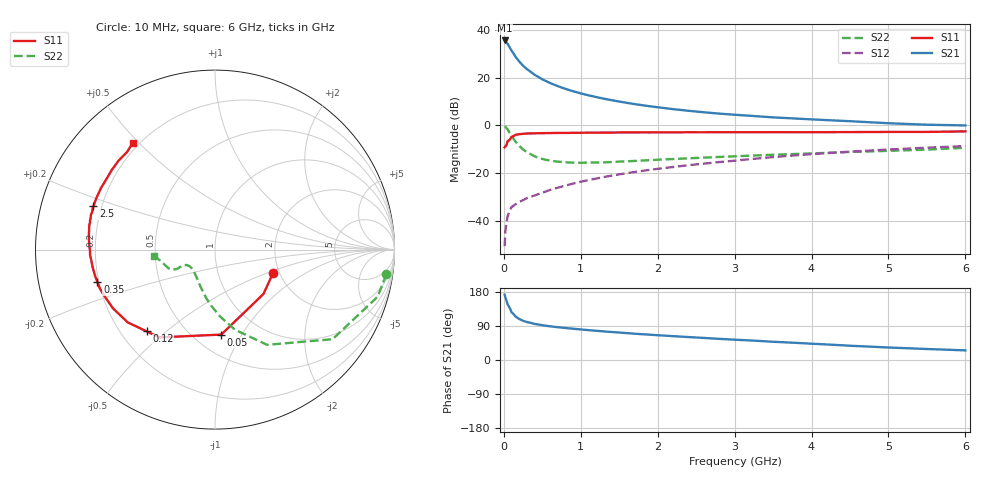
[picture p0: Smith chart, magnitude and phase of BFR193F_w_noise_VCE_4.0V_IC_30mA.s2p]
! (c) 2017  Infineon Technologies AG, Munich
! Infineon Technologies  Discrete & RF Semiconductors
! BFR193F
! VCE =  4.0 V,  IC =  30 mA
! Common Emitter S-Parameters:  Jan 2017
# GHz  S  MA  R  50
!  f  S11  S21  S12  S22
! GHz  MAG  ANG  MAG  ANG  MAG  ANG  MAG  ANG
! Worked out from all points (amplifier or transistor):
!   77 points, 10 MHz to 6 GHz, reference 50 ohm
!   highest |S21| = 35.5 dB at 10 MHz (marker M1)
!   |S21| within 3 dB of that: start of sweep to 77.64 MHz
!   unconditionally stable (mu >= 1): 1.111 GHz to 2.665 GHz
!   at 130 MHz: K = 0.38, MSG = 31.6 dB, |S12| = -33.4 dB
!   at 2.2 GHz: K = 1.02, MAG = 11.2 dB, |S12| = -17.4 dB
!   at 6 GHz: K = 0.86, MSG = 4.3 dB, |S12| = -8.6 dB
!   lowest NFmin = 1.18 dB at 450 MHz
!   S11 on the Smith chart (normalised r, x): 10 MHz: 1.86, -0.54; 50 MHz: 0.67, -0.82; 120 MHz: 0.31, -0.43; 350 MHz: 0.19, -0.13; 2.5 GHz: 0.17, +0.17; 6 GHz: 0.18, +0.48
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0.01  0.3491 -21.6  59.55 172.7  0.003 79.6  0.9641 -8.2
0.02  0.3661 -42.5  57.85 165.0  0.0062 79.5  0.9439 -16.1
0.05  0.4747 -85.8  50.42 146.4  0.0128 64.9  0.8237 -37.3
0.1  0.5793 -122.4  36.67 126.1  0.0196 52.3  0.6047 -61.3
0.12  0.5938 -129.9  32.87 122.4  0.0207 50.6  0.5437 -66.2
0.15  0.6333 -140.2  27.5 115.1  0.0224 48.3  0.462 -75.8
0.2  0.656 -150.1  21.61 108.2  0.0251 48.0  0.3743 -85.6
0.25  0.667 -156.8  17.68 103.5  0.0274 50.1  0.3142 -93.7
0.3  0.6772 -161.3  14.97 100.2  0.0302 52.0  0.2764 -100.0
0.35  0.6796 -164.5  13.17 98.0  0.0323 53.9  0.2502 -104.6
0.4  0.6841 -167.7  11.39 95.2  0.0344 55.6  0.226 -110.2
0.5  0.6887 -171.7  9.187 91.8  0.0391 58.7  0.1994 -118.0
0.6  0.6919 -175.0  7.7 88.9  0.0448 61.5  0.1834 -124.6
0.8  0.6964 -179.5  5.8 84.5  0.0553 65.1  0.1698 -134.4
1.1  0.7049 175.3  4.256 78.8  0.0722 68.2  0.1674 -143.1
1.5  0.7119 170.1  3.152 72.5  0.095 70.4  0.1753 -149.6
2.1  0.7169 163.7  2.289 64.2  0.1296 71.2  0.1951 -153.3
2.5  0.7193 160.3  1.951 59.4  0.1531 70.9  0.2087 -153.7
3.1  0.7205 155.1  1.63 52.6  0.1902 70.1  0.2297 -153.1
4.1  0.7219 146.2  1.314 42.0  0.2572 66.4  0.2632 -155.4
5.1  0.7307 136.2  1.094 32.2  0.3194 60.9  0.2977 -164.8
6  0.7506 127.7  0.999 25.4  0.3698 55.7  0.3415 -174.4
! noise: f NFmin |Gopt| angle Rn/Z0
0.45  1.18  0.39  176  0.06
0.9  1.27  0.42  176  0.07
1.9  1.84  0.57  -168  0.07
2.4  2.13  0.61  -159  0.11
